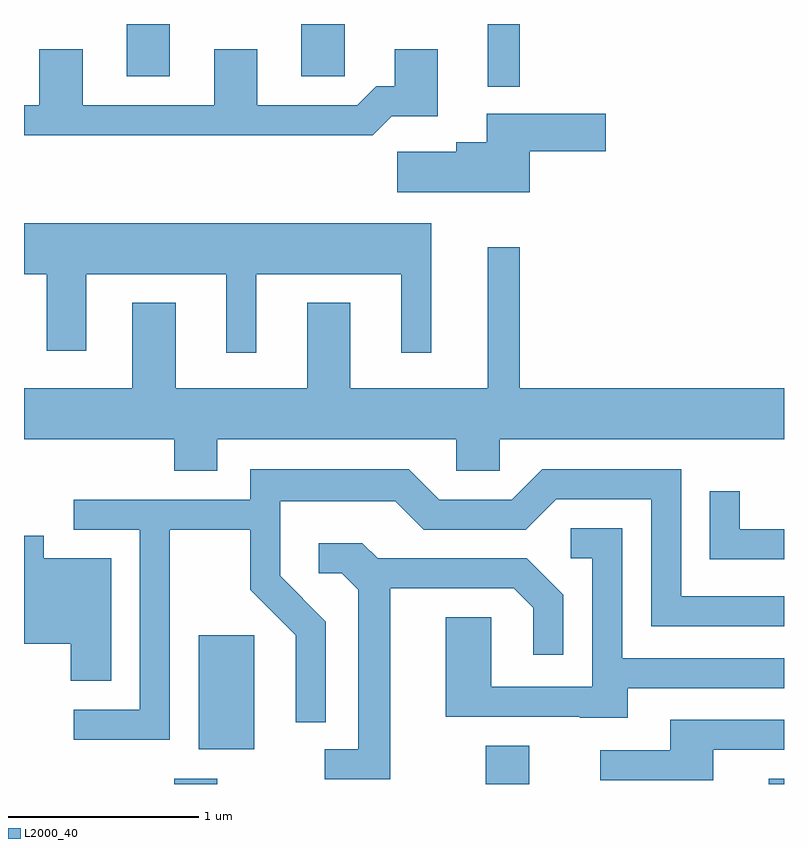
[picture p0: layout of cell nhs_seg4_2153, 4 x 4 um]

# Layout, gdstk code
import gdstk
lib = gdstk.Library(unit=1e-6, precision=1e-09)
def R(c, l, rs):  # rectangles x0, y0, x1, y1
    for r in rs: c.add(gdstk.rectangle(r[:2], r[2:], *l))
def P(c, l, *ps):  # polygons
    for p in ps: c.add(gdstk.Polygon(p, *l))
L2000_40 = (2000, 40)

nhs_seg4_2153 = lib.new_cell('nhs_seg4_2153')
R(nhs_seg4_2153, L2000_40, [(248.401,1343.982,248.629,1344.009), (250.041,1343.982,250.269,1344.184), (251.531,1343.982,251.611,1344.009), (248.531,1344.166,248.824,1344.764), (250.051,1347.653,250.219,1347.982), (248.151,1347.706,248.379,1347.982), (249.071,1347.706,249.299,1347.982)])
P(nhs_seg4_2153, L2000_40, [(249.547,1347.496),(249.789,1347.496),(249.789,1347.849),(249.561,1347.849),(249.561,1347.654),(249.464,1347.654),(249.364,1347.554),(248.839,1347.554),(248.839,1347.849),(248.611,1347.849),(248.611,1347.554),(247.919,1347.554),(247.919,1347.849),(247.691,1347.849),(247.691,1347.554),(247.611,1347.554),(247.611,1347.396),(249.447,1347.396)],
  [(250.274,1347.311),(250.674,1347.311),(250.674,1347.509),(250.046,1347.509),(250.046,1347.359),(249.886,1347.359),(249.886,1347.309),(249.576,1347.309),(249.576,1347.096),(250.274,1347.096)],
  [(248.834,1346.666),(249.596,1346.666),(249.596,1346.253),(249.754,1346.253),(249.754,1346.934),(247.611,1346.934),(247.611,1346.666),(247.731,1346.666),(247.731,1346.261),(247.939,1346.261),(247.939,1346.666),(248.676,1346.666),(248.676,1346.253),(248.834,1346.253)],
  [(248.181,1346.514),(248.181,1346.064),(247.611,1346.064),(247.611,1345.796),(248.401,1345.796),(248.401,1345.631),(248.629,1345.631),(248.629,1345.796),(249.886,1345.796),(249.886,1345.631),(250.114,1345.631),(250.114,1345.796),(251.611,1345.796),(251.611,1346.064),(250.219,1346.064),(250.219,1346.808),(250.051,1346.808),(250.051,1346.064),(249.329,1346.064),(249.329,1346.514),(249.101,1346.514),(249.101,1346.064),(248.409,1346.064),(248.409,1346.514)],
  [(248.379,1345.321),(248.801,1345.321),(248.801,1345.004),(249.041,1344.764),(249.041,1344.308),(249.199,1344.308),(249.199,1344.837),(248.959,1345.077),(248.959,1345.471),(249.564,1345.471),(249.714,1345.321),(250.252,1345.321),(250.412,1345.481),(250.911,1345.481),(250.911,1344.811),(251.611,1344.811),(251.611,1344.969),(251.069,1344.969),(251.069,1345.639),(250.339,1345.639),(250.179,1345.479),(249.797,1345.479),(249.637,1345.639),(248.801,1345.639),(248.801,1345.479),(247.873,1345.479),(247.873,1345.321),(248.221,1345.321),(248.221,1344.374),(247.873,1344.374),(247.873,1344.216),(248.379,1344.216)],
  [(251.611,1345.324),(251.379,1345.324),(251.379,1345.523),(251.221,1345.523),(251.221,1345.166),(251.611,1345.166)],
  [(250.789,1344.486),(251.611,1344.486),(251.611,1344.644),(250.759,1344.644),(250.759,1345.329),(250.488,1345.329),(250.488,1345.171),(250.601,1345.171),(250.601,1344.494),(250.069,1344.494),(250.069,1344.859),(249.831,1344.859),(249.831,1344.336),(250.535,1344.336),(250.535,1344.331),(250.789,1344.331)],
  [(248.069,1345.169),(247.714,1345.169),(247.714,1345.289),(247.611,1345.289),(247.611,1344.721),(247.856,1344.721),(247.856,1344.526),(248.069,1344.526)],
  [(249.539,1345.011),(250.189,1345.011),(250.291,1344.909),(250.291,1344.663),(250.449,1344.663),(250.449,1344.977),(250.257,1345.169),(249.472,1345.169),(249.392,1345.249),(249.163,1345.249),(249.163,1345.091),(249.284,1345.091),(249.371,1345.004),(249.371,1344.164),(249.193,1344.164),(249.193,1344.006),(249.539,1344.006)],
  [(251.239,1344.161),(251.611,1344.161),(251.611,1344.319),(251.011,1344.319),(251.011,1344.159),(250.643,1344.159),(250.643,1344.001),(251.239,1344.001)])

lib.write_gds('nhs_seg4_2153.gds')
